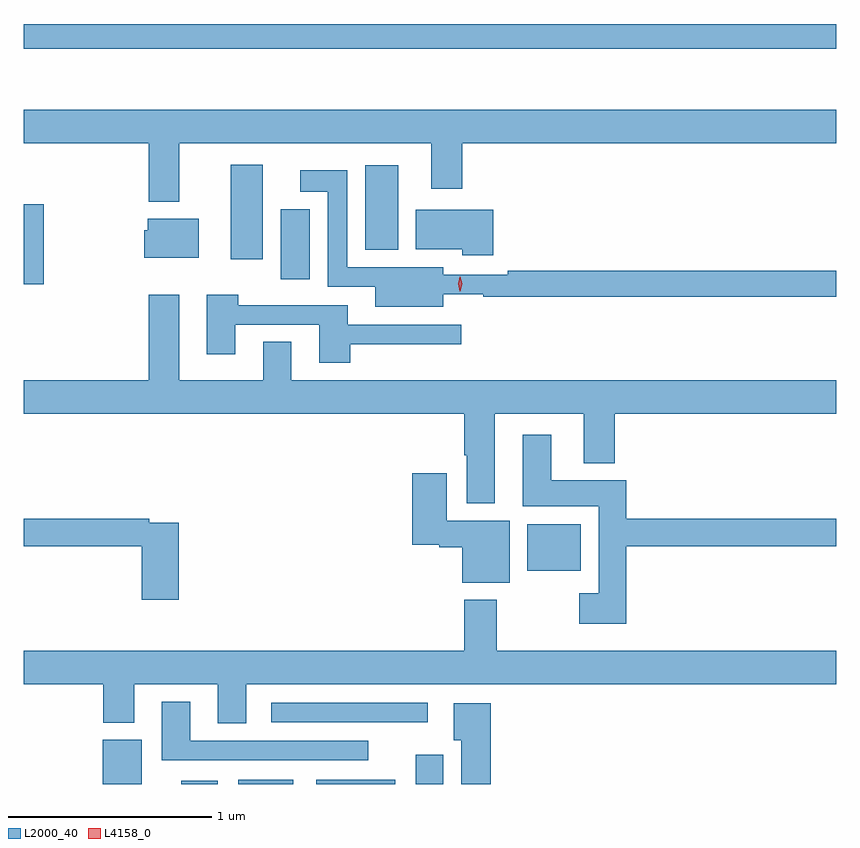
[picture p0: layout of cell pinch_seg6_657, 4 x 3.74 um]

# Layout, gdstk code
import gdstk
lib = gdstk.Library(unit=1e-6, precision=1e-09)
def R(c, l, rs):  # rectangles x0, y0, x1, y1
    for r in rs: c.add(gdstk.rectangle(r[:2], r[2:], *l))
def P(c, l, *ps):  # polygons
    for p in ps: c.add(gdstk.Polygon(p, *l))
L2000_40 = (2000, 40)
L4158_0 = (4158, 0)

pinch_seg6_657 = lib.new_cell('pinch_seg6_657')
R(pinch_seg6_657, L2000_40, [(470.39,917.541,470.581,917.758), (470.777,917.541,470.956,917.557), (471.056,917.541,471.328,917.563), (471.44,917.541,471.829,917.563), (471.932,917.541,472.066,917.686), (471.219,917.844,471.991,917.94), (472.481,918.59,472.744,918.82), (470.001,920.001,470.099,920.395), (471.266,920.025,471.409,920.371), (471.02,920.124,471.178,920.59), (471.683,920.171,471.844,920.587), (470.001,921.162,474.001,921.283)])
P(pinch_seg6_657, L2000_40, [(470.767,920.696),(472.007,920.696),(472.007,920.472),(472.16,920.472),(472.16,920.696),(474.001,920.696),(474.001,920.86),(470.001,920.86),(470.001,920.696),(470.615,920.696),(470.615,920.408),(470.767,920.408)],
  [(472.066,919.952),(472.262,919.952),(472.262,919.941),(474.001,919.941),(474.001,920.069),(472.384,920.069),(472.384,920.049),(472.066,920.049),(472.066,920.086),(471.84,920.086),(471.84,920.085),(471.594,920.085),(471.594,920.563),(471.363,920.563),(471.363,920.456),(471.498,920.456),(471.498,919.989),(471.731,919.989),(471.731,919.892),(472.066,919.892)],
  [(472.312,920.368),(471.932,920.368),(471.932,920.174),(472.159,920.174),(472.159,920.144),(472.312,920.144)],
  [(470.863,920.323),(470.612,920.323),(470.612,920.268),(470.594,920.268),(470.594,920.132),(470.863,920.132)],
  [(471.608,919.706),(472.156,919.706),(472.156,919.803),(471.595,919.803),(471.595,919.899),(471.056,919.899),(471.056,919.951),(470.903,919.951),(470.903,919.656),(471.043,919.656),(471.043,919.803),(471.455,919.803),(471.455,919.614),(471.608,919.614)],
  [(472.321,919.364),(472.757,919.364),(472.757,919.121),(472.91,919.121),(472.91,919.364),(474.001,919.364),(474.001,919.528),(471.319,919.528),(471.319,919.718),(471.179,919.718),(471.179,919.528),(470.767,919.528),(470.767,919.951),(470.615,919.951),(470.615,919.528),(470.001,919.528),(470.001,919.364),(472.169,919.364),(472.169,919.159),(472.181,919.159),(472.181,918.923),(472.321,918.923)],
  [(472.967,918.712),(474.001,918.712),(474.001,918.848),(472.967,918.848),(472.967,919.036),(472.597,919.036),(472.597,919.261),(472.457,919.261),(472.457,918.908),(472.832,918.908),(472.832,918.481),(472.737,918.481),(472.737,918.329),(472.967,918.329)],
  [(472.393,918.838),(472.084,918.838),(472.084,919.072),(471.914,919.072),(471.914,918.719),(472.047,918.719),(472.047,918.707),(472.16,918.707),(472.16,918.533),(472.393,918.533)],
  [(470.765,918.828),(470.618,918.828),(470.618,918.848),(470.001,918.848),(470.001,918.712),(470.582,918.712),(470.582,918.447),(470.765,918.447)],
  [(471.097,918.032),(474.001,918.032),(474.001,918.196),(472.329,918.196),(472.329,918.448),(472.169,918.448),(472.169,918.196),(470.001,918.196),(470.001,918.032),(470.393,918.032),(470.393,917.843),(470.545,917.843),(470.545,918.032),(470.957,918.032),(470.957,917.839),(471.097,917.839)],
  [(471.697,917.754),(470.821,917.754),(470.821,917.947),(470.681,917.947),(470.681,917.658),(471.697,917.658)],
  [(472.301,917.938),(472.118,917.938),(472.118,917.756),(472.154,917.756),(472.154,917.541),(472.301,917.541)])
P(pinch_seg6_657, L4158_0, [(472.149,919.967),(472.148,919.968),(472.139,920.003),(472.148,920.039),(472.149,920.039),(472.149,920.039),(472.159,920.003),(472.149,919.968)])

lib.write_gds('pinch_seg6_657.gds')
